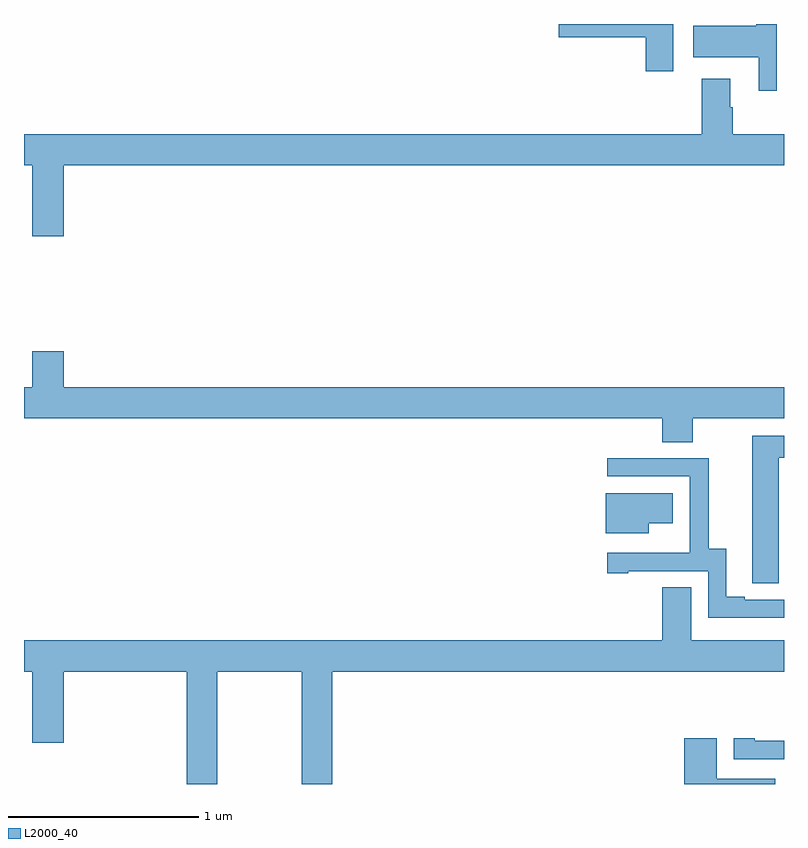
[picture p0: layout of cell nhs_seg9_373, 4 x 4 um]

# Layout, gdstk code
import gdstk
lib = gdstk.Library(unit=1e-6, precision=1e-09)
def P(c, l, *ps):  # polygons
    for p in ps: c.add(gdstk.Polygon(p, *l))
L2000_40 = (2000, 40)

nhs_seg9_373 = lib.new_cell('nhs_seg9_373')
P(nhs_seg9_373, L2000_40, [(132.963,1194.5),(132.855,1194.5),(132.855,1194.492),(132.522,1194.492),(132.522,1194.326),(132.866,1194.326),(132.866,1194.15),(132.963,1194.15)],
  [(132.418,1194.5),(131.814,1194.5),(131.814,1194.431),(132.272,1194.431),(132.272,1194.252),(132.418,1194.252)],
  [(129.208,1193.756),(133,1193.756),(133,1193.92),(132.731,1193.92),(132.731,1194.062),(132.718,1194.062),(132.718,1194.211),(132.566,1194.211),(132.566,1193.92),(129,1193.92),(129,1193.756),(129.044,1193.756),(129.044,1193.382),(129.208,1193.382)],
  [(132.519,1192.424),(133,1192.424),(133,1192.588),(129.208,1192.588),(129.208,1192.777),(129.044,1192.777),(129.044,1192.588),(129,1192.588),(129,1192.424),(132.359,1192.424),(132.359,1192.3),(132.519,1192.3)],
  [(132.973,1192.216),(133,1192.216),(133,1192.332),(132.833,1192.332),(132.833,1191.664),(132.834,1191.664),(132.834,1191.556),(132.973,1191.556)],
  [(133,1191.471),(132.793,1191.471),(132.793,1191.486),(132.697,1191.486),(132.697,1191.737),(132.603,1191.737),(132.603,1192.215),(132.069,1192.215),(132.069,1192.119),(132.504,1192.119),(132.504,1191.718),(132.503,1191.718),(132.503,1191.717),(132.069,1191.717),(132.069,1191.609),(132.181,1191.609),(132.181,1191.621),(132.6,1191.621),(132.6,1191.375),(133,1191.375)],
  [(132.289,1191.872),(132.415,1191.872),(132.415,1192.03),(132.062,1192.03),(132.062,1191.821),(132.289,1191.821)],
  [(130.017,1191.092),(130.462,1191.092),(130.462,1190.5),(130.622,1190.5),(130.622,1191.092),(133,1191.092),(133,1191.256),(132.511,1191.256),(132.511,1191.536),(132.359,1191.536),(132.359,1191.256),(129,1191.256),(129,1191.092),(129.044,1191.092),(129.044,1190.718),(129.208,1190.718),(129.208,1191.092),(129.857,1191.092),(129.857,1190.5),(130.017,1190.5)],
  [(132.955,1190.527),(132.646,1190.527),(132.646,1190.74),(132.476,1190.74),(132.476,1190.5),(132.955,1190.5)],
  [(133,1190.727),(132.847,1190.727),(132.847,1190.74),(132.735,1190.74),(132.735,1190.631),(133,1190.631)])

lib.write_gds('nhs_seg9_373.gds')
